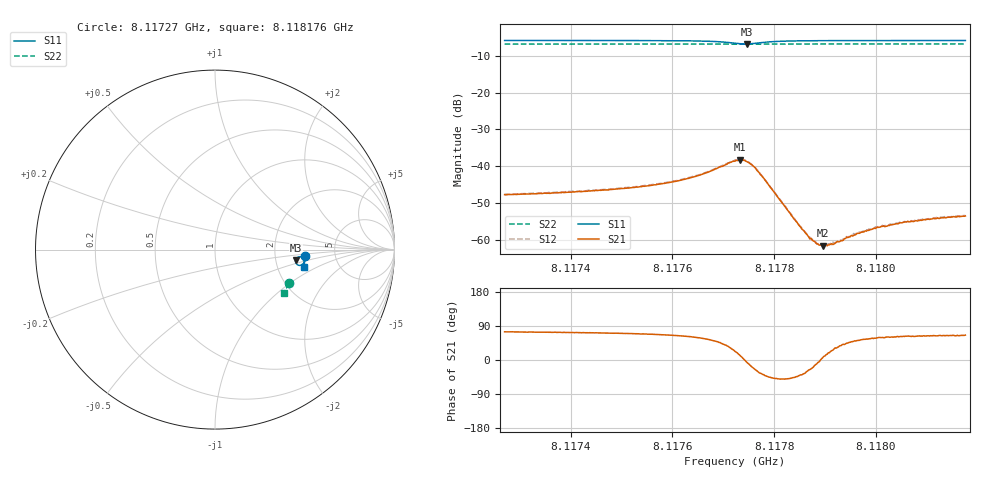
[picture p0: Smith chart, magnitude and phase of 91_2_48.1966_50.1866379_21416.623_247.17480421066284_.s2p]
#  HZ  S  RI  R  50.00
! Rohde & Schwarz Vector Network Analyzer
! Rohde-Schwarz,ZNB20-2Port,1311601062101988,3.16
! Created: UTC 3/20/2024, 11:40:05 AM
! freq[Hz]  re:S11  im:S11  re:S21  im:S21  re:S12  im:S12  re:S22  im:S22
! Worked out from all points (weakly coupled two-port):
!   401 points, 8.11727 GHz to 8.118176 GHz, reference 50 ohm
!   highest |S21| = -38.17 dB at 8.117732 GHz (marker M1); lowest = -61.5 dB at 8.117895 GHz (marker M2)
!   lowest |S11| = -6.9 dB at 8.117746 GHz (marker M3), VSWR 2.65, Z = 129 - j18.9 ohm
!   |S11| at or under -10 dB: nowhere
!   |S22| runs from -6.9 to -6.9 dB; largest |S21 - S12| = 0.00043
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8.11727e9  0.5041 -0.0383  0.00112 0.00401  0.00116 0.004  0.4106 -0.1874
8.1174218e9  0.5024 -0.0516  0.00142 0.00434  0.00149 0.00446  0.4065 -0.197
8.1175102e9  0.5005 -0.0604  0.00173 0.00478  0.00181 0.00485  0.404 -0.2028
8.1175736e9  0.4982 -0.0676  0.00225 0.0053  0.00235 0.00539  0.4021 -0.2069
8.1176507e9  0.4908 -0.0799  0.00389 0.00644  0.00401 0.0065  0.3993 -0.212
8.1177232e9  0.4567 -0.0822  0.0109 0.00456  0.0113 0.00466  0.3957 -0.216
8.1177322e9  0.4504 -0.0745  0.012 0.0028  0.0123 0.00267  0.3954 -0.2161
8.1177458e9  0.4488 -0.0582  0.0116 -0.00106  0.012 -0.00122  0.395 -0.2161
8.1177572e9  0.4558 -0.0466  0.00984 -0.00342  0.00986 -0.00355  0.3951 -0.2165
8.1177662e9  0.4641 -0.0415  0.00779 -0.00424  0.00794 -0.00448  0.3953 -0.2168
8.1178478e9  0.496 -0.0577  0.00122 -0.0011  0.00124 -0.00116  0.3941 -0.2228
8.117875e9  0.4976 -0.063  0.00094 -0.000362  0.000978 -0.000361  0.3932 -0.2247
8.1178863e9  0.4979 -0.0649  0.000882 -0.0001  0.000895 -0.000106  0.3929 -0.2253
8.1178954e9  0.4982 -0.0664  0.000842 8.5e-05  0.00089 5.55e-05  0.3926 -0.2262
8.1179022e9  0.4982 -0.0673  0.000844 0.000206  0.000827 0.000187  0.3924 -0.2265
8.1179158e9  0.4984 -0.0692  0.000791 0.000388  0.000846 0.000431  0.3919 -0.2273
8.1179679e9  0.4983 -0.0756  0.00077 0.000983  0.000803 0.00103  0.3902 -0.2306
8.1180019e9  0.4981 -0.0794  0.000791 0.00127  0.00081 0.00128  0.3891 -0.2328
8.1180268e9  0.4978 -0.0819  0.000797 0.00138  0.000839 0.00141  0.3883 -0.2345
8.1180585e9  0.4974 -0.0851  0.00081 0.00158  0.000846 0.00159  0.387 -0.2364
8.1181288e9  0.4966 -0.0912  0.000883 0.00181  0.000935 0.00183  0.3848 -0.2407
8.1181764e9  0.4959 -0.0953  0.000878 0.00195  0.000927 0.00199  0.3831 -0.2436
